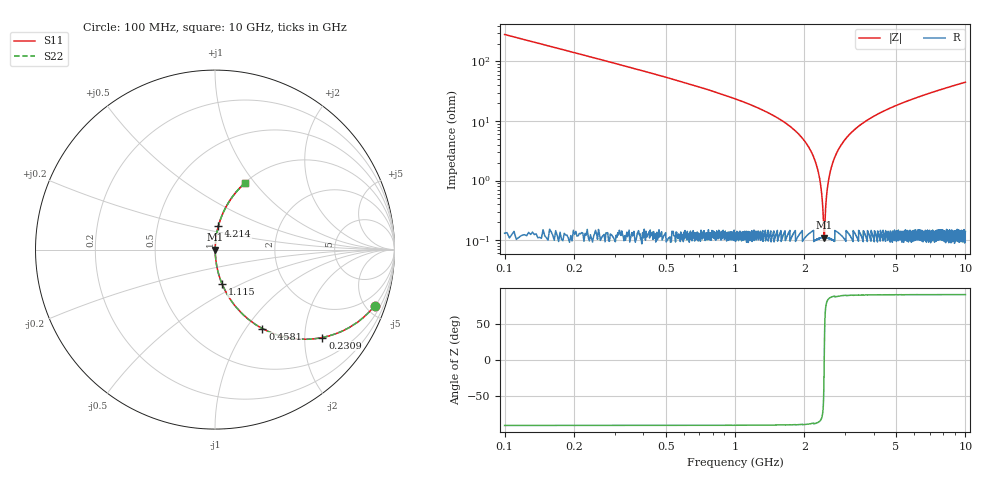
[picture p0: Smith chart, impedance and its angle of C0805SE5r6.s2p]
! AVX Thin Film Operation		Date: April 2012
! Description: Accu-P® Series, Thin Film, SMD, RF Capacitor
! Part Number: 08051J5R6ABTTR
!	100	MHz	-	10.05	GHz
!	Serial	Measurements
#	MHZ	S	MA	R	50
!	S11	S21	S12	S22
!	dB	Phase	dB	Phase	dB	Phase	dB	Phase
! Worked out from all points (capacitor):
!   4010 points, 100 MHz to 10 GHz, reference 50 ohm
!   read as one part in series: C = 5.6 pF near 149.4 MHz
!   lowest |Z| = 110 mohm at 2.439 GHz (marker M1)
!   series resonance near 2.439 GHz, so ESL is about 760 pH
!   S11 on the Smith chart (normalised r, x): 100 MHz: 1.00, -5.67; 230.9 MHz: 1.00, -2.44; 458.1 MHz: 1.00, -1.20; 1.115 GHz: 1.00, -0.40; 4.214 GHz: 1.00, +0.27; 10 GHz: 1.00, +0.90
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100  0.943 -19.4  0.332 70.6  0.332 70.6  0.943 -19.4
230.881  0.773 -39.3  0.634 50.6  0.634 50.6  0.773 -39.3
458.069  0.513 -59.0  0.857 30.9  0.857 30.9  0.513 -59.0
714.891  0.341 -69.9  0.939 19.9  0.939 19.9  0.341 -69.9
1114.941  0.197 -78.3  0.979 11.4  0.979 11.4  0.197 -78.3
1752.058  0.078 -84.6  0.996 4.5  0.996 4.5  0.078 -84.6
2036.044  0.042 -86.0  0.998 2.4  0.998 2.4  0.042 -86.0
2221.252  0.022 -85.6  0.999 1.2  0.999 1.2  0.022 -85.6
2329.908  0.011 -83.0  0.999 0.6  0.999 0.6  0.011 -83.0
2408.93  0.00315 -67.5  0.999 0.2  0.999 0.2  0.00315 -67.5
2438.563  0.0012 -3.4  0.999 0.0  0.999 0.0  0.0012 -3.4
2470.666  0.00321 67.9  0.999 -0.2  0.999 -0.2  0.00321 67.9
2517.585  0.00745 80.3  0.999 -0.4  0.999 -0.4  0.00745 80.3
2562.035  0.011 83.4  0.999 -0.7  0.999 -0.7  0.011 83.4
2712.671  0.025 85.8  0.998 -1.4  0.998 -1.4  0.025 85.8
2989.249  0.048 85.8  0.998 -2.7  0.998 -2.7  0.048 85.8
3401.646  0.079 84.6  0.996 -4.5  0.996 -4.5  0.079 84.6
4214.093  0.133 81.9  0.99 -7.6  0.99 -7.6  0.133 81.9
5051.235  0.182 79.2  0.982 -10.5  0.982 -10.5  0.182 79.2
6700.823  0.267 74.3  0.962 -15.5  0.962 -15.5  0.267 74.3
8350.412  0.342 69.8  0.938 -20.0  0.938 -20.0  0.342 69.8
10000  0.409 65.7  0.911 -24.2  0.911 -24.2  0.409 65.7
